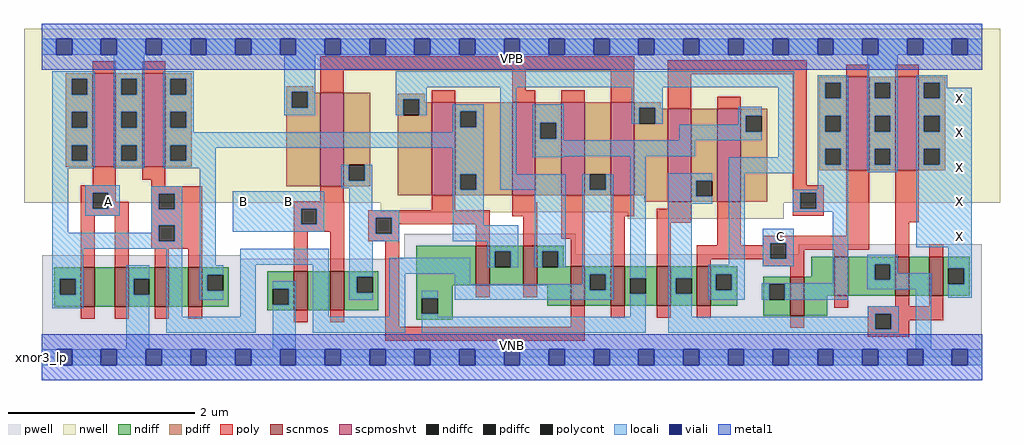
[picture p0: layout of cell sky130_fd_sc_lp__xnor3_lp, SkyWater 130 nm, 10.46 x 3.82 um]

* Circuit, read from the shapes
.subckt sky130_fd_sc_lp__xnor3_lp A B C VGND VNB VPB VPWR X
XM1 n1 A n2 VNB sky130_fd_pr__nfet_01v8 w=0.42 l=0.15
XM2 VGND A n1 VNB sky130_fd_pr__nfet_01v8 w=0.42 l=0.15
XM3 n3 n2 VGND VNB sky130_fd_pr__nfet_01v8 w=0.42 l=0.15
XM4 n4 n2 n3 VNB sky130_fd_pr__nfet_01v8 w=0.42 l=0.15
XM5 n5 B VGND VNB sky130_fd_pr__nfet_01v8 w=0.42 l=0.15
XM6 n6 B n5 VNB sky130_fd_pr__nfet_01v8 w=0.42 l=0.15
XM7 n4 n6 n7 VNB sky130_fd_pr__nfet_01v8 w=0.42 l=0.15
XM8 n8 B n4 VNB sky130_fd_pr__nfet_01v8 w=0.42 l=0.15
XM9 n2 n6 n8 VNB sky130_fd_pr__nfet_01v8 w=0.42 l=0.15
XM10 n7 B n2 VNB sky130_fd_pr__nfet_01v8 w=0.42 l=0.15
XM11 n9 n10 n7 VNB sky130_fd_pr__nfet_01v8 w=0.42 l=0.15
XM12 n8 C n9 VNB sky130_fd_pr__nfet_01v8 w=0.42 l=0.15
XM13 n11 C n10 VNB sky130_fd_pr__nfet_01v8 w=0.42 l=0.15
XM14 VGND C n11 VNB sky130_fd_pr__nfet_01v8 w=0.42 l=0.15
XM15 n12 n9 VGND VNB sky130_fd_pr__nfet_01v8 w=0.42 l=0.15
XM16 X n9 n12 VNB sky130_fd_pr__nfet_01v8 w=0.42 l=0.15
XM17 VPWR A n2 VPB sky130_fd_pr__pfet_01v8_hvt w=1 l=0.25
XM18 n4 n2 VPWR VPB sky130_fd_pr__pfet_01v8_hvt w=1 l=0.25
XM19 n6 B VPWR VPB sky130_fd_pr__pfet_01v8_hvt w=1 l=0.25
XM20 n4 n6 n8 VPB sky130_fd_pr__pfet_01v8_hvt w=1 l=0.25
XM21 n7 B n4 VPB sky130_fd_pr__pfet_01v8_hvt w=1 l=0.25
XM22 n2 n6 n7 VPB sky130_fd_pr__pfet_01v8_hvt w=1 l=0.25
XM23 n8 B n2 VPB sky130_fd_pr__pfet_01v8_hvt w=1 l=0.25
XM24 n9 n10 n8 VPB sky130_fd_pr__pfet_01v8_hvt w=1 l=0.25
XM25 n7 C n9 VPB sky130_fd_pr__pfet_01v8_hvt w=1 l=0.25
XM26 VPWR C n10 VPB sky130_fd_pr__pfet_01v8_hvt w=1 l=0.25
XM27 X n9 VPWR VPB sky130_fd_pr__pfet_01v8_hvt w=1 l=0.25
.ends

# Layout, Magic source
magic
tech sky130A
magscale 1 2
<< nwell >>
rect -38 331 2054 704
rect 727 311 1591 331
rect 1256 297 1591 311
<< pwell >>
rect 777 221 1145 265
rect 1623 221 2015 242
rect 1 211 427 219
rect 777 211 2015 221
rect 1 49 2015 211
rect 0 0 2016 49
<< scnmos >>
rect 84 109 114 193
rect 156 109 186 193
rect 242 109 272 193
rect 314 109 344 193
rect 540 101 570 185
rect 618 101 648 185
rect 930 155 960 239
rect 1032 155 1062 239
rect 1134 111 1164 195
rect 1220 111 1250 195
rect 1318 111 1348 195
rect 1404 111 1434 195
rect 1604 89 1634 173
rect 1699 132 1729 216
rect 1830 132 1860 216
rect 1902 132 1932 216
<< scpmoshvt >>
rect 109 409 159 609
rect 215 409 265 609
rect 597 367 647 567
rect 836 347 886 547
rect 1008 347 1058 547
rect 1114 347 1164 547
rect 1220 347 1270 547
rect 1342 333 1392 533
rect 1448 333 1498 533
rect 1724 401 1774 601
rect 1830 401 1880 601
<< ndiff >>
rect 27 168 84 193
rect 27 134 39 168
rect 73 134 84 168
rect 27 109 84 134
rect 114 109 156 193
rect 186 168 242 193
rect 186 134 197 168
rect 231 134 242 168
rect 186 109 242 134
rect 272 109 314 193
rect 344 177 401 193
rect 344 143 355 177
rect 389 143 401 177
rect 344 109 401 143
rect 483 147 540 185
rect 483 113 495 147
rect 529 113 540 147
rect 483 101 540 113
rect 570 101 618 185
rect 648 173 721 185
rect 648 139 675 173
rect 709 139 721 173
rect 648 101 721 139
rect 803 155 930 239
rect 960 227 1032 239
rect 960 193 971 227
rect 1005 193 1032 227
rect 960 155 1032 193
rect 1062 227 1119 239
rect 1062 193 1073 227
rect 1107 195 1119 227
rect 1107 193 1134 195
rect 1062 155 1134 193
rect 803 127 881 155
rect 803 93 815 127
rect 849 93 881 127
rect 1084 111 1134 155
rect 1164 178 1220 195
rect 1164 144 1175 178
rect 1209 144 1220 178
rect 1164 111 1220 144
rect 1250 170 1318 195
rect 1250 136 1261 170
rect 1295 136 1318 170
rect 1250 111 1318 136
rect 1348 170 1404 195
rect 1348 136 1359 170
rect 1393 136 1404 170
rect 1348 111 1404 136
rect 1434 178 1491 195
rect 1434 144 1445 178
rect 1479 144 1491 178
rect 1649 173 1699 216
rect 1434 111 1491 144
rect 1547 158 1604 173
rect 1547 124 1559 158
rect 1593 124 1604 158
rect 803 81 881 93
rect 1547 89 1604 124
rect 1634 132 1699 173
rect 1729 200 1830 216
rect 1729 166 1785 200
rect 1819 166 1830 200
rect 1729 132 1830 166
rect 1860 132 1902 216
rect 1932 191 1989 216
rect 1932 157 1943 191
rect 1977 157 1989 191
rect 1932 132 1989 157
rect 1634 89 1684 132
<< pdiff >>
rect 52 597 109 609
rect 52 563 64 597
rect 98 563 109 597
rect 52 526 109 563
rect 52 492 64 526
rect 98 492 109 526
rect 52 455 109 492
rect 52 421 64 455
rect 98 421 109 455
rect 52 409 109 421
rect 159 597 215 609
rect 159 563 170 597
rect 204 563 215 597
rect 159 526 215 563
rect 159 492 170 526
rect 204 492 215 526
rect 159 455 215 492
rect 159 421 170 455
rect 204 421 215 455
rect 159 409 215 421
rect 265 597 322 609
rect 265 563 276 597
rect 310 563 322 597
rect 265 526 322 563
rect 265 492 276 526
rect 310 492 322 526
rect 265 455 322 492
rect 265 421 276 455
rect 310 421 322 455
rect 265 409 322 421
rect 524 569 582 581
rect 524 535 536 569
rect 570 567 582 569
rect 570 535 597 567
rect 524 367 597 535
rect 647 413 704 567
rect 647 379 658 413
rect 692 379 704 413
rect 647 367 704 379
rect 763 553 821 565
rect 763 519 775 553
rect 809 547 821 553
rect 809 519 836 547
rect 763 347 836 519
rect 886 527 1008 547
rect 886 493 897 527
rect 931 493 1008 527
rect 886 393 1008 493
rect 886 359 897 393
rect 931 359 1008 393
rect 886 347 1008 359
rect 1058 503 1114 547
rect 1058 469 1069 503
rect 1103 469 1114 503
rect 1058 347 1114 469
rect 1164 393 1220 547
rect 1164 359 1175 393
rect 1209 359 1220 393
rect 1164 347 1220 359
rect 1270 535 1327 547
rect 1270 501 1281 535
rect 1315 533 1327 535
rect 1315 501 1342 533
rect 1270 347 1342 501
rect 1292 333 1342 347
rect 1392 379 1448 533
rect 1392 345 1403 379
rect 1437 345 1448 379
rect 1392 333 1448 345
rect 1498 518 1555 533
rect 1498 484 1509 518
rect 1543 484 1555 518
rect 1498 333 1555 484
rect 1667 589 1724 601
rect 1667 555 1679 589
rect 1713 555 1724 589
rect 1667 518 1724 555
rect 1667 484 1679 518
rect 1713 484 1724 518
rect 1667 447 1724 484
rect 1667 413 1679 447
rect 1713 413 1724 447
rect 1667 401 1724 413
rect 1774 589 1830 601
rect 1774 555 1785 589
rect 1819 555 1830 589
rect 1774 518 1830 555
rect 1774 484 1785 518
rect 1819 484 1830 518
rect 1774 447 1830 484
rect 1774 413 1785 447
rect 1819 413 1830 447
rect 1774 401 1830 413
rect 1880 589 1937 601
rect 1880 555 1891 589
rect 1925 555 1937 589
rect 1880 518 1937 555
rect 1880 484 1891 518
rect 1925 484 1937 518
rect 1880 447 1937 484
rect 1880 413 1891 447
rect 1925 413 1937 447
rect 1880 401 1937 413
<< ndiffc >>
rect 39 134 73 168
rect 197 134 231 168
rect 355 143 389 177
rect 495 113 529 147
rect 675 139 709 173
rect 971 193 1005 227
rect 1073 193 1107 227
rect 815 93 849 127
rect 1175 144 1209 178
rect 1261 136 1295 170
rect 1359 136 1393 170
rect 1445 144 1479 178
rect 1559 124 1593 158
rect 1785 166 1819 200
rect 1943 157 1977 191
<< pdiffc >>
rect 64 563 98 597
rect 64 492 98 526
rect 64 421 98 455
rect 170 563 204 597
rect 170 492 204 526
rect 170 421 204 455
rect 276 563 310 597
rect 276 492 310 526
rect 276 421 310 455
rect 536 535 570 569
rect 658 379 692 413
rect 775 519 809 553
rect 897 493 931 527
rect 897 359 931 393
rect 1069 469 1103 503
rect 1175 359 1209 393
rect 1281 501 1315 535
rect 1403 345 1437 379
rect 1509 484 1543 518
rect 1679 555 1713 589
rect 1679 484 1713 518
rect 1679 413 1713 447
rect 1785 555 1819 589
rect 1785 484 1819 518
rect 1785 413 1819 447
rect 1891 555 1925 589
rect 1891 484 1925 518
rect 1891 413 1925 447
<< poly >>
rect 109 609 159 635
rect 215 609 265 635
rect 597 615 1270 645
rect 597 567 647 615
rect 1008 573 1038 615
rect 109 369 159 409
rect 215 381 265 409
rect 84 353 159 369
rect 84 319 109 353
rect 143 333 159 353
rect 235 367 265 381
rect 836 547 886 573
rect 1008 547 1058 573
rect 1114 547 1164 573
rect 1220 547 1270 615
rect 1342 607 1640 637
rect 235 351 344 367
rect 143 319 186 333
rect 84 303 186 319
rect 84 193 114 303
rect 156 193 186 303
rect 235 317 251 351
rect 285 317 344 351
rect 597 335 647 367
rect 1342 533 1392 607
rect 1448 533 1498 559
rect 235 283 344 317
rect 235 249 251 283
rect 285 249 344 283
rect 235 233 344 249
rect 242 193 272 233
rect 314 193 344 233
rect 540 319 648 335
rect 540 285 556 319
rect 590 285 648 319
rect 836 315 886 347
rect 1008 332 1058 347
rect 540 269 648 285
rect 540 185 570 269
rect 618 185 648 269
rect 700 299 960 315
rect 1008 302 1062 332
rect 700 265 716 299
rect 750 285 960 299
rect 750 265 766 285
rect 700 249 766 265
rect 84 83 114 109
rect 156 83 186 109
rect 242 83 272 109
rect 314 83 344 109
rect 540 75 570 101
rect 618 75 648 101
rect 736 66 766 249
rect 930 239 960 285
rect 1032 239 1062 302
rect 1114 254 1164 347
rect 1134 195 1164 254
rect 1220 302 1270 347
rect 1610 369 1640 607
rect 1724 601 1774 627
rect 1830 601 1880 627
rect 1610 353 1676 369
rect 1342 318 1392 333
rect 1220 195 1250 302
rect 1318 288 1392 318
rect 1318 195 1348 288
rect 1448 240 1498 333
rect 1610 319 1626 353
rect 1660 319 1676 353
rect 1610 303 1676 319
rect 1724 261 1774 401
rect 1546 245 1774 261
rect 1546 240 1562 245
rect 1404 211 1562 240
rect 1596 231 1774 245
rect 1830 290 1880 401
rect 1596 211 1634 231
rect 1699 216 1729 231
rect 1830 216 1860 290
rect 1902 216 1932 242
rect 1404 210 1634 211
rect 1404 195 1434 210
rect 1546 195 1634 210
rect 930 129 960 155
rect 1032 129 1062 155
rect 1604 173 1634 195
rect 1134 66 1164 111
rect 1220 85 1250 111
rect 1318 85 1348 111
rect 1404 85 1434 111
rect 1699 106 1729 132
rect 1830 110 1860 132
rect 1902 110 1932 132
rect 1771 94 1932 110
rect 736 36 1164 66
rect 1604 63 1634 89
rect 1771 60 1787 94
rect 1821 80 1932 94
rect 1821 60 1860 80
rect 1771 44 1860 60
<< polycont >>
rect 109 319 143 353
rect 251 317 285 351
rect 251 249 285 283
rect 556 285 590 319
rect 716 265 750 299
rect 1626 319 1660 353
rect 1562 211 1596 245
rect 1787 60 1821 94
<< locali >>
rect 0 649 31 683
rect 65 649 127 683
rect 161 649 223 683
rect 257 649 319 683
rect 353 649 415 683
rect 449 649 511 683
rect 545 649 607 683
rect 641 649 703 683
rect 737 649 799 683
rect 833 649 895 683
rect 929 649 991 683
rect 1025 649 1087 683
rect 1121 649 1183 683
rect 1217 649 1279 683
rect 1313 649 1375 683
rect 1409 649 1471 683
rect 1505 649 1567 683
rect 1601 649 1663 683
rect 1697 649 1759 683
rect 1793 649 1855 683
rect 1889 649 1951 683
rect 1985 649 2016 683
rect 23 597 114 613
rect 23 563 64 597
rect 98 563 114 597
rect 23 526 114 563
rect 23 492 64 526
rect 98 492 114 526
rect 23 455 114 492
rect 23 421 64 455
rect 98 421 114 455
rect 23 405 114 421
rect 154 597 220 649
rect 154 563 170 597
rect 204 563 220 597
rect 154 526 220 563
rect 154 492 170 526
rect 204 492 220 526
rect 154 455 220 492
rect 154 421 170 455
rect 204 421 220 455
rect 154 405 220 421
rect 260 597 326 613
rect 260 563 276 597
rect 310 563 326 597
rect 260 526 326 563
rect 260 492 276 526
rect 310 492 326 526
rect 520 569 586 649
rect 520 535 536 569
rect 570 535 586 569
rect 520 519 586 535
rect 759 579 1613 613
rect 759 553 825 579
rect 759 519 775 553
rect 809 519 825 553
rect 881 527 947 543
rect 260 483 326 492
rect 881 493 897 527
rect 931 493 947 527
rect 881 483 947 493
rect 260 455 947 483
rect 260 421 276 455
rect 310 449 947 455
rect 310 421 373 449
rect 260 405 373 421
rect 23 267 57 405
rect 93 353 167 369
rect 93 319 109 353
rect 143 319 167 353
rect 93 303 167 319
rect 235 351 301 367
rect 235 317 251 351
rect 285 317 301 351
rect 235 283 301 317
rect 235 267 251 283
rect 23 249 251 267
rect 285 249 301 283
rect 23 233 301 249
rect 23 168 89 233
rect 23 134 39 168
rect 73 134 89 168
rect 23 105 89 134
rect 181 168 231 197
rect 181 134 197 168
rect 181 17 231 134
rect 267 87 301 233
rect 339 197 373 405
rect 642 379 658 413
rect 692 379 708 413
rect 642 363 708 379
rect 409 319 606 356
rect 409 285 556 319
rect 590 285 606 319
rect 409 269 606 285
rect 659 315 708 363
rect 881 393 947 449
rect 881 359 897 393
rect 931 359 947 393
rect 983 393 1017 579
rect 1053 503 1119 543
rect 1053 469 1069 503
rect 1103 469 1119 503
rect 1265 535 1331 579
rect 1265 501 1281 535
rect 1315 501 1331 535
rect 1493 518 1543 537
rect 1493 499 1509 518
rect 1053 465 1119 469
rect 1367 484 1509 499
rect 1367 465 1543 484
rect 1053 431 1401 465
rect 1053 429 1119 431
rect 983 359 1123 393
rect 659 299 766 315
rect 659 265 716 299
rect 750 265 766 299
rect 659 249 766 265
rect 881 283 947 359
rect 881 249 1021 283
rect 425 199 615 233
rect 339 177 389 197
rect 339 143 355 177
rect 339 123 389 143
rect 425 87 459 199
rect 267 53 459 87
rect 495 147 545 163
rect 529 113 545 147
rect 495 17 545 113
rect 581 87 615 199
rect 659 173 709 249
rect 955 227 1021 249
rect 659 139 675 173
rect 659 123 709 139
rect 745 179 919 213
rect 955 193 971 227
rect 1005 193 1021 227
rect 1057 227 1123 359
rect 1057 193 1073 227
rect 1107 193 1123 227
rect 1159 359 1175 393
rect 1209 359 1225 393
rect 745 87 779 179
rect 885 157 919 179
rect 1159 178 1225 359
rect 1159 157 1175 178
rect 885 144 1175 157
rect 1209 144 1225 178
rect 581 53 779 87
rect 815 127 849 143
rect 885 123 1225 144
rect 1261 170 1295 431
rect 1579 429 1613 579
rect 1473 395 1613 429
rect 1663 589 1729 605
rect 1663 555 1679 589
rect 1713 555 1729 589
rect 1663 518 1729 555
rect 1663 484 1679 518
rect 1713 484 1729 518
rect 1663 447 1729 484
rect 1663 413 1679 447
rect 1713 413 1729 447
rect 815 87 849 93
rect 1261 87 1295 136
rect 815 53 1295 87
rect 1343 379 1437 395
rect 1343 345 1403 379
rect 1343 329 1437 345
rect 1343 170 1393 329
rect 1473 199 1507 395
rect 1663 359 1729 413
rect 1769 589 1835 649
rect 1769 555 1785 589
rect 1819 555 1835 589
rect 1769 518 1835 555
rect 1769 484 1785 518
rect 1819 484 1835 518
rect 1769 447 1835 484
rect 1769 413 1785 447
rect 1819 413 1835 447
rect 1769 397 1835 413
rect 1875 589 1941 605
rect 1875 555 1891 589
rect 1925 578 1941 589
rect 1925 555 1993 578
rect 1875 518 1993 555
rect 1875 484 1891 518
rect 1925 484 1993 518
rect 1875 447 1993 484
rect 1875 413 1891 447
rect 1925 413 1993 447
rect 1610 353 1729 359
rect 1610 319 1626 353
rect 1660 319 1729 353
rect 1610 312 1729 319
rect 1343 136 1359 170
rect 1343 87 1393 136
rect 1429 178 1507 199
rect 1546 245 1612 276
rect 1546 211 1562 245
rect 1596 211 1612 245
rect 1546 195 1612 211
rect 1429 144 1445 178
rect 1479 144 1507 178
rect 1695 159 1729 312
rect 1875 236 1993 413
rect 1429 123 1507 144
rect 1543 158 1729 159
rect 1543 124 1559 158
rect 1593 124 1729 158
rect 1769 200 1835 220
rect 1769 166 1785 200
rect 1819 180 1835 200
rect 1943 191 1993 236
rect 1819 166 1907 180
rect 1769 146 1907 166
rect 1543 123 1729 124
rect 1771 94 1837 110
rect 1771 87 1787 94
rect 1343 60 1787 87
rect 1821 60 1837 94
rect 1343 53 1837 60
rect 1873 17 1907 146
rect 1977 157 1993 191
rect 1943 128 1993 157
rect 0 -17 31 17
rect 65 -17 127 17
rect 161 -17 223 17
rect 257 -17 319 17
rect 353 -17 415 17
rect 449 -17 511 17
rect 545 -17 607 17
rect 641 -17 703 17
rect 737 -17 799 17
rect 833 -17 895 17
rect 929 -17 991 17
rect 1025 -17 1087 17
rect 1121 -17 1183 17
rect 1217 -17 1279 17
rect 1313 -17 1375 17
rect 1409 -17 1471 17
rect 1505 -17 1567 17
rect 1601 -17 1663 17
rect 1697 -17 1759 17
rect 1793 -17 1855 17
rect 1889 -17 1951 17
rect 1985 -17 2016 17
<< viali >>
rect 31 649 65 683
rect 127 649 161 683
rect 223 649 257 683
rect 319 649 353 683
rect 415 649 449 683
rect 511 649 545 683
rect 607 649 641 683
rect 703 649 737 683
rect 799 649 833 683
rect 895 649 929 683
rect 991 649 1025 683
rect 1087 649 1121 683
rect 1183 649 1217 683
rect 1279 649 1313 683
rect 1375 649 1409 683
rect 1471 649 1505 683
rect 1567 649 1601 683
rect 1663 649 1697 683
rect 1759 649 1793 683
rect 1855 649 1889 683
rect 1951 649 1985 683
rect 31 -17 65 17
rect 127 -17 161 17
rect 223 -17 257 17
rect 319 -17 353 17
rect 415 -17 449 17
rect 511 -17 545 17
rect 607 -17 641 17
rect 703 -17 737 17
rect 799 -17 833 17
rect 895 -17 929 17
rect 991 -17 1025 17
rect 1087 -17 1121 17
rect 1183 -17 1217 17
rect 1279 -17 1313 17
rect 1375 -17 1409 17
rect 1471 -17 1505 17
rect 1567 -17 1601 17
rect 1663 -17 1697 17
rect 1759 -17 1793 17
rect 1855 -17 1889 17
rect 1951 -17 1985 17
<< metal1 >>
rect 0 683 2016 715
rect 0 649 31 683
rect 65 649 127 683
rect 161 649 223 683
rect 257 649 319 683
rect 353 649 415 683
rect 449 649 511 683
rect 545 649 607 683
rect 641 649 703 683
rect 737 649 799 683
rect 833 649 895 683
rect 929 649 991 683
rect 1025 649 1087 683
rect 1121 649 1183 683
rect 1217 649 1279 683
rect 1313 649 1375 683
rect 1409 649 1471 683
rect 1505 649 1567 683
rect 1601 649 1663 683
rect 1697 649 1759 683
rect 1793 649 1855 683
rect 1889 649 1951 683
rect 1985 649 2016 683
rect 0 617 2016 649
rect 0 17 2016 49
rect 0 -17 31 17
rect 65 -17 127 17
rect 161 -17 223 17
rect 257 -17 319 17
rect 353 -17 415 17
rect 449 -17 511 17
rect 545 -17 607 17
rect 641 -17 703 17
rect 737 -17 799 17
rect 833 -17 895 17
rect 929 -17 991 17
rect 1025 -17 1087 17
rect 1121 -17 1183 17
rect 1217 -17 1279 17
rect 1313 -17 1375 17
rect 1409 -17 1471 17
rect 1505 -17 1567 17
rect 1601 -17 1663 17
rect 1697 -17 1759 17
rect 1793 -17 1855 17
rect 1889 -17 1951 17
rect 1985 -17 2016 17
rect 0 -49 2016 -17
<< labels >>
flabel pwell s 0 0 2016 49 0 FreeSans 200 0 0 0 VNB
port 5 nsew ground bidirectional
flabel nwell s 0 617 2016 666 0 FreeSans 200 0 0 0 VPB
port 6 nsew power bidirectional
rlabel comment s 0 0 0 0 4 xnor3_lp
flabel metal1 s 0 617 2016 666 0 FreeSans 340 0 0 0 VPWR
port 7 nsew power bidirectional
flabel metal1 s 0 0 2016 49 0 FreeSans 340 0 0 0 VGND
port 4 nsew ground bidirectional
flabel locali s 415 316 449 350 0 FreeSans 340 0 0 0 B
port 2 nsew signal input
flabel locali s 511 316 545 350 0 FreeSans 340 0 0 0 B
port 2 nsew signal input
flabel locali s 127 316 161 350 0 FreeSans 340 0 0 0 A
port 1 nsew signal input
flabel locali s 1567 242 1601 276 0 FreeSans 340 0 0 0 C
port 3 nsew signal input
flabel locali s 1951 242 1985 276 0 FreeSans 340 0 0 0 X
port 8 nsew signal output
flabel locali s 1951 316 1985 350 0 FreeSans 340 0 0 0 X
port 8 nsew signal output
flabel locali s 1951 390 1985 424 0 FreeSans 340 0 0 0 X
port 8 nsew signal output
flabel locali s 1951 464 1985 498 0 FreeSans 340 0 0 0 X
port 8 nsew signal output
flabel locali s 1951 538 1985 572 0 FreeSans 340 0 0 0 X
port 8 nsew signal output
<< properties >>
string LEFsite unit
string LEFclass CORE
string FIXED_BBOX 0 0 2016 666
string GDS_FILE $PDKPATH/libs.ref/sky130_fd_sc_lp/gds/sky130_fd_sc_lp.gds
string LEFsymmetry X Y R90
string GDS_END 746080
string GDS_START 733364
<< end >>
